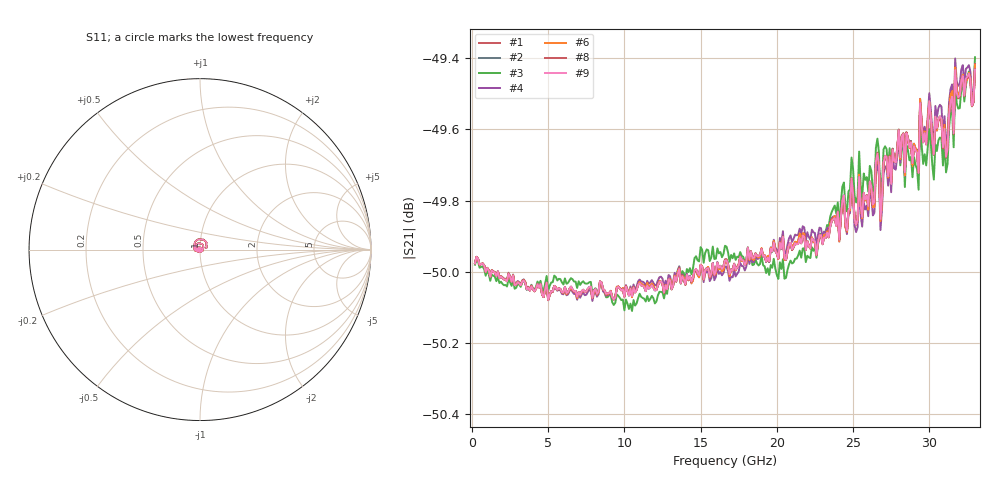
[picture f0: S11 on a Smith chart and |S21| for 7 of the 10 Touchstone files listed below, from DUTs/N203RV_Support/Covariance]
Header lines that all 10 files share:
# GHZ S RI R 50
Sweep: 200 MHz to 33 GHz
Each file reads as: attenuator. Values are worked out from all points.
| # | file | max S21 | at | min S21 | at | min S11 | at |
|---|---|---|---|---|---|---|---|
| 1 | N203RV_1.s2p | -49.43 dB | 33 GHz | -50.1 dB | 5 GHz | -47.2 dB | 12.3 GHz |
| 2 | N203RV_2.s2p | -49.43 dB | 33 GHz | -50.1 dB | 5 GHz | -47.3 dB | 12.3 GHz |
| 3 | N203RV_3.s2p | -49.40 dB | 33 GHz | -50.1 dB | 10.5 GHz | -47.3 dB | 12.4 GHz |
| 4 | N203RV_4.s2p | -49.40 dB | 31.7 GHz | -50.1 dB | 7.9 GHz | -47.2 dB | 12.3 GHz |
| 5 | N203RV_6.s2p | -49.43 dB | 33 GHz | -50.1 dB | 5 GHz | -47.2 dB | 12.3 GHz |
| 6 | N203RV_8.s2p | -49.42 dB | 33 GHz | -50.1 dB | 5 GHz | -47.8 dB | 11.9 GHz |
| 7 | N203RV_9.s2p | -49.42 dB | 33 GHz | -50.1 dB | 5 GHz | -47.8 dB | 11.9 GHz |
| 8 | N203RV_11.s2p | -49.43 dB | 33 GHz | -50.1 dB | 5 GHz | -47.6 dB | 12.2 GHz |
| 9 | N203RV_12.s2p | -49.43 dB | 33 GHz | -50.1 dB | 5 GHz | -47.0 dB | 12.2 GHz |
| 10 | N203RV_15.s2p | -49.43 dB | 33 GHz | -50.1 dB | 5 GHz | -47.2 dB | 12.3 GHz |
